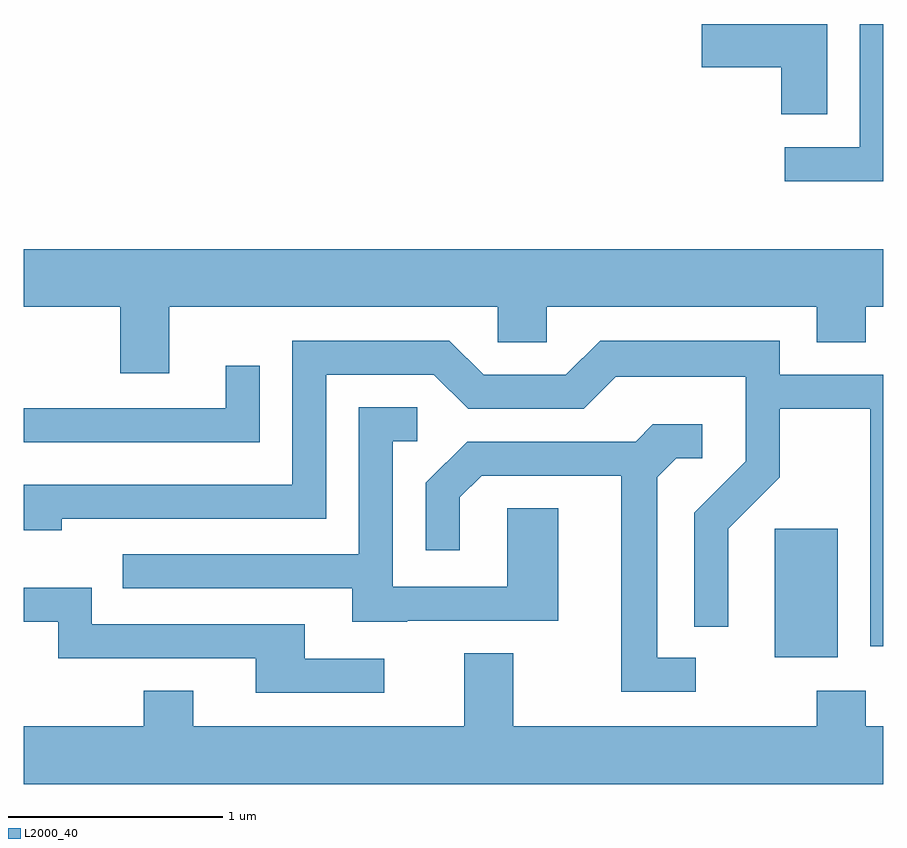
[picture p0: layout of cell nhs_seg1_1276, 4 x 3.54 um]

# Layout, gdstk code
import gdstk
lib = gdstk.Library(unit=1e-6, precision=1e-09)
def R(c, l, rs):  # rectangles x0, y0, x1, y1
    for r in rs: c.add(gdstk.rectangle(r[:2], r[2:], *l))
def P(c, l, *ps):  # polygons
    for p in ps: c.add(gdstk.Polygon(p, *l))
L2000_40 = (2000, 40)

nhs_seg1_1276 = lib.new_cell('nhs_seg1_1276')
R(nhs_seg1_1276, L2000_40, [(227.106,966.766,227.399,967.364)])
P(nhs_seg1_1276, L2000_40, [(227.611,969.712),(227.501,969.712),(227.501,969.139),(227.153,969.139),(227.153,968.981),(227.611,968.981)],
  [(227.349,969.712),(226.766,969.712),(226.766,969.511),(227.136,969.511),(227.136,969.291),(227.349,969.291)],
  [(224.289,968.396),(225.816,968.396),(225.816,968.231),(226.044,968.231),(226.044,968.396),(227.301,968.396),(227.301,968.231),(227.529,968.231),(227.529,968.396),(227.611,968.396),(227.611,968.664),(223.611,968.664),(223.611,968.396),(224.061,968.396),(224.061,968.086),(224.289,968.086)],
  [(227.611,968.079),(227.129,968.079),(227.129,968.239),(226.294,968.239),(226.134,968.079),(225.752,968.079),(225.592,968.239),(224.861,968.239),(224.861,967.569),(223.611,967.569),(223.611,967.356),(223.789,967.356),(223.789,967.411),(225.019,967.411),(225.019,968.081),(225.519,968.081),(225.679,967.921),(226.217,967.921),(226.367,968.071),(226.971,968.071),(226.971,967.677),(226.731,967.437),(226.731,966.908),(226.889,966.908),(226.889,967.364),(227.129,967.604),(227.129,967.921),(227.551,967.921),(227.551,966.816),(227.611,966.816)],
  [(224.709,968.123),(224.551,968.123),(224.551,967.924),(223.611,967.924),(223.611,967.766),(224.709,967.766)],
  [(225.395,966.936),(226.099,966.936),(226.099,967.459),(225.861,967.459),(225.861,967.094),(225.329,967.094),(225.329,967.771),(225.443,967.771),(225.443,967.929),(225.171,967.929),(225.171,967.244),(224.073,967.244),(224.073,967.086),(225.141,967.086),(225.141,966.931),(225.395,966.931)],
  [(226.738,966.764),(226.559,966.764),(226.559,967.604),(226.647,967.691),(226.768,967.691),(226.768,967.849),(226.539,967.849),(226.459,967.769),(225.674,967.769),(225.481,967.577),(225.481,967.263),(225.639,967.263),(225.639,967.509),(225.742,967.611),(226.391,967.611),(226.391,966.606),(226.738,966.606)],
  [(225.288,966.759),(224.919,966.759),(224.919,966.919),(223.929,966.919),(223.929,967.089),(223.611,967.089),(223.611,966.931),(223.771,966.931),(223.771,966.761),(224.691,966.761),(224.691,966.601),(225.288,966.601)],
  [(227.611,966.444),(227.529,966.444),(227.529,966.609),(227.301,966.609),(227.301,966.444),(225.889,966.444),(225.889,966.784),(225.661,966.784),(225.661,966.444),(224.399,966.444),(224.399,966.609),(224.171,966.609),(224.171,966.444),(223.611,966.444),(223.611,966.176),(227.611,966.176)])

lib.write_gds('nhs_seg1_1276.gds')
